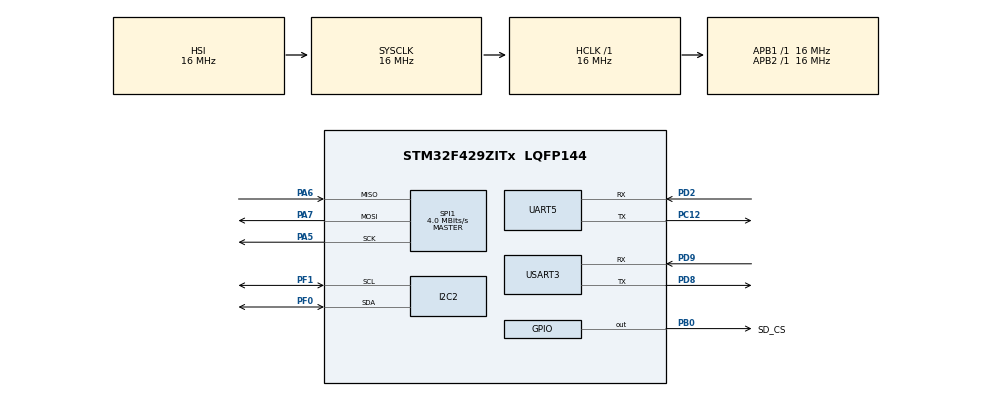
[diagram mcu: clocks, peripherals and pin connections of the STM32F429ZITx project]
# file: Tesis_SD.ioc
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FATFS._FS_TINY=1
FATFS._USE_LFN=1
Mcu.Family=STM32F4
Mcu.Name=STM32F429ZITx
Mcu.Package=LQFP144
NVIC.PriorityGroup=NVIC_PRIORITYGROUP_4
NVIC.UART5_IRQn=true\:0\:0\:false\:false\:true\:true\:true\:true
PA13.Mode=Serial_Wire
PA13.Signal=SYS_JTMS-SWDIO
PA14.Mode=Serial_Wire
PA14.Signal=SYS_JTCK-SWCLK
PA5.Mode=Full_Duplex_Master
PA5.Signal=SPI1_SCK
PA6.Mode=Full_Duplex_Master
PA6.Signal=SPI1_MISO
PA7.Mode=Full_Duplex_Master
PA7.Signal=SPI1_MOSI
PB0.GPIO_Label=SD_CS
PB0.Signal=GPIO_Output
PC12.Mode=Asynchronous
PC12.Signal=UART5_TX
PD2.GPIO_PuPd=GPIO_PULLUP
PD2.Mode=Asynchronous
PD2.Signal=UART5_RX
PD8.Mode=Asynchronous
PD8.Signal=USART3_TX
PD9.Mode=Asynchronous
PD9.Signal=USART3_RX
PF0.Mode=I2C
PF0.Signal=I2C2_SDA
PF1.Mode=I2C
PF1.Signal=I2C2_SCL
ProjectManager.HeapSize=0x200
ProjectManager.StackSize=0x400
ProjectManager.TargetToolchain=STM32CubeIDE
RCC.AHBFreq_Value=16000000
RCC.APB1Freq_Value=16000000
RCC.APB2Freq_Value=16000000
RCC.CortexFreq_Value=16000000
RCC.HSE_VALUE=25000000
RCC.HSI_VALUE=16000000
RCC.LSE_VALUE=32768
RCC.SYSCLKFreq_VALUE=16000000
RCC.VCOOutputFreq_Value=192000000
SPI1.BaudRatePrescaler=SPI_BAUDRATEPRESCALER_4
SPI1.CalculateBaudRate=4.0 MBits/s
SPI1.Direction=SPI_DIRECTION_2LINES
SPI1.Mode=SPI_MODE_MASTER
SPI1.VirtualType=VM_MASTER
UART5.VirtualMode=Asynchronous
USART3.VirtualMode=VM_ASYNC
VP_FATFS_VS_Generic.Mode=User_defined
VP_RTC_VS_RTC_Activate.Mode=RTC_Enabled
VP_RTC_VS_RTC_Calendar.Mode=RTC_Calendar
board=custom

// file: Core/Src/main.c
/* USER CODE BEGIN Header */
/**
 ******************************************************************************
 * @file           : main.c
 * @brief          : Main program body
 ******************************************************************************
 * @attention
 *
 * Copyright (c) 2024 STMicroelectronics.
 * All rights reserved.
 *
 * This software is licensed under terms that can be found in the LICENSE file
 * in the root directory of this software component.
 * If no LICENSE file comes with this software, it is provided AS-IS.
 *
 ******************************************************************************
 */
/* USER CODE END Header */
#include "main.h"
#include "fatfs.h"
#include "i2c.h"
#include "rtc.h"
#include "spi.h"
#include "usart.h"
#include "gpio.h"
#include "time_rtc.h"
/* USER CODE BEGIN Includes */
#include "fatfs_sd.h"
#include <stdio.h>  // Añade esto para sprintf
#include <string.h> // Añade esto para strlen
#include "uart.h"
#include "microSD.h"

/* USER CODE END Includes */

/* USER CODE BEGIN PV */

// I2C_HandleTypeDef hi2c2;

// UART_HandleTypeDef huart1;

//	struct sps30_measurement m;
//	char serial[SPS30_MAX_SERIAL_LEN];
//	const uint8_t AUTO_CLEAN_DAYS = 4;
//	    int16_t ret;

/* USER CODE END PV */

void SystemClock_Config(void);

int main(void)
{

  /* MCU Configuration--------------------------------------------------------*/

  /* Reset of all peripherals, Initializes the Flash interface and the Systick. */
  HAL_Init();

  /* USER CODE BEGIN Init */

    // SPS30_Init(&huart5);

  /* USER CODE END Init */

  /* Configure the system clock */
  SystemClock_Config();

  /* Initialize all configured peripherals */
  MX_GPIO_Init();
  MX_RTC_Init();
  MX_UART5_Init();
  MX_USART3_UART_Init();
  MX_I2C2_Init();
  MX_FATFS_Init();
  MX_SPI1_Init();
  /* USER CODE BEGIN 2 */

  //UART_HandleTypeDef huart3;

  // Crea una nueva instancia de MicroSD
      MicroSD *sd = microSD_create(&huart3, "contador.txt", "/"); // Inicialización con el directorio raíz
      if (sd == NULL) {
          // Manejar error de creación
          Error_Handler();
      }
  microSD_setDirectory(sd, "/"); // Cambia el directorio según sea necesario

  //microSD_read(&sd);
  //microSD_deinit(&sd);

  int contador = 1;
  char buffer[100];  // Buffer para la cadena del contador

    //	uint32_t counter = 0; // Variable del contador
    //	char buffer[50]; // Buffer para almacenar el mensaje a enviar
    /* mensaje con los parametros de configuracion de la UART */
    /*static uint8_t * message =
        (uint8_t *)"\n\n"
                   "-----------------------------------------------------------\n"
                   "*** UART port initialization successful !!! ***\n"
                   "-----------------------------------------------------------\n";

    HAL_UART_Transmit(&huart3, (uint8_t *)message, strlen((char *)message), HAL_MAX_DELAY);

    uart_print("\n*********************************************\n");
*/

    /* Start DS1307 timing. Pass user I2C handle pointer to function. */

  //  time_rtc_Init(&hi2c2);

  /* USER CODE END 2 */

  /* Infinite loop */
  /* USER CODE BEGIN WHILE */

    /*buffer donde se imprimira la fecha */
  //  char buffer[100] = {0};

    while (1) {
    	  snprintf(buffer, sizeof(buffer), "%d", contador);  // Convierte el contador a cadena
    	  microSD_appendLine(sd, buffer);  // Escribe la cadena en el archivo
    	  contador++;  // Incrementa el contador
    	  HAL_Delay(5000);  // Espera 5 segundos

    /* USER CODE END WHILE */

    /* USER CODE BEGIN 3 */
        // Enviar mensaje a través de UART
        // uart_print(buffer);
     //   uart_print("\n*********************************************\n");
    }
  /* USER CODE END 3 */
}

void SystemClock_Config(void)
{
  RCC_OscInitTypeDef RCC_OscInitStruct = {0};
  RCC_ClkInitTypeDef RCC_ClkInitStruct = {0};

  /** Configure the main internal regulator output voltage
  */
  __HAL_RCC_PWR_CLK_ENABLE();
  __HAL_PWR_VOLTAGESCALING_CONFIG(PWR_REGULATOR_VOLTAGE_SCALE3);

  /** Initializes the RCC Oscillators according to the specified parameters
  * in the RCC_OscInitTypeDef structure.
  */
  RCC_OscInitStruct.OscillatorType = RCC_OSCILLATORTYPE_HSI|RCC_OSCILLATORTYPE_LSI;
  RCC_OscInitStruct.HSIState = RCC_HSI_ON;
  RCC_OscInitStruct.HSICalibrationValue = RCC_HSICALIBRATION_DEFAULT;
  RCC_OscInitStruct.LSIState = RCC_LSI_ON;
  RCC_OscInitStruct.PLL.PLLState = RCC_PLL_NONE;
  if (HAL_RCC_OscConfig(&RCC_OscInitStruct) != HAL_OK)
  {
    Error_Handler();
  }

  /** Initializes the CPU, AHB and APB buses clocks
  */
  RCC_ClkInitStruct.ClockType = RCC_CLOCKTYPE_HCLK|RCC_CLOCKTYPE_SYSCLK
                              |RCC_CLOCKTYPE_PCLK1|RCC_CLOCKTYPE_PCLK2;
  RCC_ClkInitStruct.SYSCLKSource = RCC_SYSCLKSOURCE_HSI;
  RCC_ClkInitStruct.AHBCLKDivider = RCC_SYSCLK_DIV1;
  RCC_ClkInitStruct.APB1CLKDivider = RCC_HCLK_DIV1;
  RCC_ClkInitStruct.APB2CLKDivider = RCC_HCLK_DIV1;

  if (HAL_RCC_ClockConfig(&RCC_ClkInitStruct, FLASH_LATENCY_0) != HAL_OK)
  {
    Error_Handler();
  }
}

void Error_Handler(void)
{
    __disable_irq();
    while (1) {
    }
}
